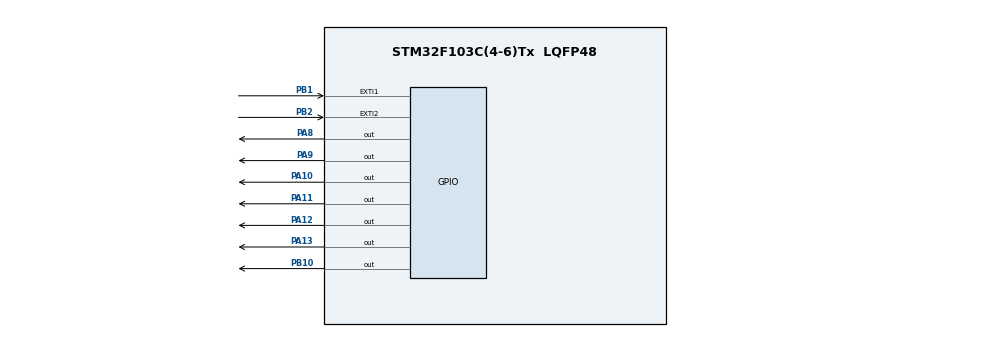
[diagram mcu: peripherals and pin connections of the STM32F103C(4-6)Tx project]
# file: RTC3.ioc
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Mcu.Family=STM32F1
Mcu.Name=STM32F103C(4-6)Tx
Mcu.Package=LQFP48
NVIC.EXTI1_IRQn=true\:2\:0\:true\:false\:true\:true\:true
NVIC.EXTI2_IRQn=true\:3\:0\:true\:false\:true\:true\:true
NVIC.PriorityGroup=NVIC_PRIORITYGROUP_4
NVIC.RTC_Alarm_IRQn=true\:0\:0\:false\:false\:true\:true\:true
PA10.Signal=GPIO_Output
PA11.Signal=GPIO_Output
PA12.Signal=GPIO_Output
PA13.Signal=GPIO_Output
PA8.Signal=GPIO_Output
PA9.Signal=GPIO_Output
PB1.GPIO_ModeDefaultEXTI=GPIO_MODE_IT_FALLING
PB1.GPIO_PuPd=GPIO_PULLUP
PB1.Signal=GPXTI1
PB10.Signal=GPIO_Output
PB2.GPIO_ModeDefaultEXTI=GPIO_MODE_IT_FALLING
PB2.GPIO_PuPd=GPIO_PULLUP
PB2.Signal=GPXTI2
ProjectManager.HeapSize=0x200
ProjectManager.StackSize=0x400
ProjectManager.TargetToolchain=MDK-ARM V5
RCC.APB1Freq_Value=8000000
RCC.APB2Freq_Value=8000000
VP_RTC_VS_RTC_Activate.Mode=RTC_Enabled
VP_RTC_VS_RTC_Calendar.Mode=RTC_Calendar
VP_SYS_VS_ND.Mode=No_Debug
board=custom

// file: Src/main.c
/* USER CODE BEGIN Header */
/**
  ******************************************************************************
  * @file           : main.c
  * @brief          : Main program body
  ******************************************************************************
  * @attention
  *
  * <h2><center>&copy; Copyright (c) 2021 STMicroelectronics.
  * All rights reserved.</center></h2>
  *
  * This software component is licensed by ST under BSD 3-Clause license,
  * the "License"; You may not use this file except in compliance with the
  * License. You may obtain a copy of the License at:
  *                        opensource.org/licenses/BSD-3-Clause
  *
  ******************************************************************************
  */
/* USER CODE END Header */
#include "main.h"

/* USER CODE BEGIN Includes */
#include "LCD16x2/LCD16x2.h"
#include <stdio.h>
/* USER CODE END Includes */

RTC_HandleTypeDef hrtc;

void SystemClock_Config(void);
static void MX_GPIO_Init(void);
static void MX_RTC_Init(void);

/* USER CODE BEGIN 0 */
uint8_t currentMode = 0;
#define MODE_NORMAL			0
#define MODE_CHNG_CLK		1
#define MODE_CHNG_MIN		2
#define MODE_CHNG_SEC		3
#define MODE_CHNG_YEAR	4
#define MODE_CHNG_MONTH	5
#define MODE_CHNG_DAY		6
#define MODE_CHNG_WEEK	7

uint8_t h,m,s,y,mon,d,wk;
RTC_TimeTypeDef tmptim = {.Hours=0, .Minutes=0, .Seconds=0};
RTC_DateTypeDef tmpdat = {.Year=0, .Month=0, .Date=0, .WeekDay=0};

void HAL_GPIO_EXTI_Callback(uint16_t GPIO_Pin)
{
  if(GPIO_Pin == GPIO_PIN_1)
	{
		if(currentMode==MODE_NORMAL)
		{
			currentMode = MODE_CHNG_CLK;
		}
		else if(currentMode == MODE_CHNG_CLK)
		{
			currentMode = MODE_CHNG_MIN;
		}
		else if(currentMode == MODE_CHNG_MIN)
		{
			currentMode = MODE_CHNG_SEC;
		}
		else if(currentMode == MODE_CHNG_SEC)
		{
			currentMode = MODE_CHNG_DAY;
		}
		else if(currentMode == MODE_CHNG_DAY)
		{
			currentMode = MODE_CHNG_MONTH;
		}
		else if(currentMode == MODE_CHNG_MONTH)
		{
			currentMode = MODE_CHNG_YEAR;
		}
		else if(currentMode == MODE_CHNG_YEAR)
		/*{
			currentMode = MODE_CHNG_WEEK;
		}
		else if(currentMode == MODE_CHNG_WEEK)
		*/{
			currentMode = MODE_NORMAL;
			LCD_HideCursor();
		}
	}
	else if(GPIO_Pin == GPIO_PIN_2)
	{
		if(currentMode==MODE_NORMAL)
			HAL_GPIO_WritePin(GPIOB, GPIO_PIN_10, 0);	//turn off alarm
		else if(currentMode==MODE_CHNG_CLK)
		{
			h++;
			if(h==24) h=0;
			tmptim.Hours = h;
			tmptim.Minutes = m;
			tmptim.Seconds = s;
			HAL_RTC_SetTime(&hrtc,&tmptim,RTC_FORMAT_BIN);
		}
		else if(currentMode==MODE_CHNG_MIN)
		{
			m++;
			if(m==60) m=0;
			tmptim.Hours = h;
			tmptim.Minutes = m;
			tmptim.Seconds = s;
			HAL_RTC_SetTime(&hrtc,&tmptim,RTC_FORMAT_BIN);
		}
		else if(currentMode==MODE_CHNG_SEC)
		{
			s++;
			if(s==60) s=0;
			tmptim.Hours = h;
			tmptim.Minutes = m;
			tmptim.Seconds = s;
			HAL_RTC_SetTime(&hrtc,&tmptim,RTC_FORMAT_BIN);
		}
		else if(currentMode==MODE_CHNG_DAY)
		{
			d++;
			if(d==32) d=1;
			tmpdat.Year = y;
			tmpdat.Month = mon;
			tmpdat.Date = d;
			//tmpdat.WeekDay = wk;
			HAL_RTC_SetDate(&hrtc,&tmpdat,RTC_FORMAT_BIN);
		}
		else if(currentMode==MODE_CHNG_MONTH)
		{
			mon++;
			if(mon==13) mon=1;
			tmpdat.Year = y;
			tmpdat.Month = mon;
			tmpdat.Date = d;
			//tmpdat.WeekDay = wk;
			HAL_RTC_SetDate(&hrtc,&tmpdat,RTC_FORMAT_BIN);
		}
		else if(currentMode==MODE_CHNG_YEAR)
		{
			y++;
			tmpdat.Year = y;
			tmpdat.Month = mon;
			tmpdat.Date = d;
			//tmpdat.WeekDay = wk;
			HAL_RTC_SetDate(&hrtc,&tmpdat,RTC_FORMAT_BIN);
		}
		/*else if(currentMode==MODE_CHNG_WEEK)
		{
			wk++;
			if(wk==8) wk=1;
			tmpdat.Year = y;
			tmpdat.Month = mon;
			tmpdat.Date = d;
			tmpdat.WeekDay = wk;
			HAL_RTC_SetDate(&hrtc,&tmpdat,RTC_FORMAT_BIN);
		}*/
	}
}

void getTimeAndDate(uint8_t* h, uint8_t* m, uint8_t* s, uint8_t* y, uint8_t* mon, uint8_t* d, uint8_t* wk)
{
	RTC_TimeTypeDef timeh = {.Hours = 0, .Minutes= 0, .Seconds = 0};
	HAL_RTC_GetTime(&hrtc, &timeh, RTC_FORMAT_BIN);
	*h = timeh.Hours;
	*m = timeh.Minutes;
	*s = timeh.Seconds;

	RTC_DateTypeDef dateh;
	HAL_RTC_GetDate(&hrtc, &dateh, RTC_FORMAT_BIN);
	*y = dateh.Year;
	*mon = dateh.Month;
	*d = dateh.Date;
	*wk = dateh.WeekDay;
}

void cursorMove()
{
		if(currentMode == MODE_CHNG_CLK)
			LCD_Set_Cursor(1,2);
		else if(currentMode == MODE_CHNG_MIN)
			LCD_Set_Cursor(1,5);
		else if(currentMode == MODE_CHNG_SEC)
			LCD_Set_Cursor(1,8);
		else if(currentMode == MODE_CHNG_DAY)
			LCD_Set_Cursor(2,2);
		else if(currentMode == MODE_CHNG_MONTH)
			LCD_Set_Cursor(2,5);
		else if(currentMode == MODE_CHNG_YEAR)
			LCD_Set_Cursor(2,10);
		else if(currentMode == MODE_CHNG_WEEK)
			LCD_Set_Cursor(1,14);
		LCD_ShowCursor();
}
/* USER CODE END 0 */

int main(void)
{

  /* MCU Configuration--------------------------------------------------------*/

  /* Reset of all peripherals, Initializes the Flash interface and the Systick. */
  HAL_Init();

  /* Configure the system clock */
  SystemClock_Config();

  /* Initialize all configured peripherals */
  MX_GPIO_Init();
  MX_RTC_Init();

  /* Infinite loop */
  /* USER CODE BEGIN WHILE */
  LCD_Init();
	LCD_Set_Cursor(1,1);
	char buf[16];
	const char* DayNames [] = {"", "MON", "TUE", "WED", "THU", "FRI", "SAT", "SUN"};
  while (1)
  {
    /* USER CODE END WHILE */

    /* USER CODE BEGIN 3 */

		//if(currentMode == 0)
		{
			getTimeAndDate(&h, &m, &s, &y, &mon, &d, &wk);
			sprintf(buf, "%02d:%02d:%02d     %s", h, m ,s, DayNames[wk]);
			LCD_Set_Cursor(1,1);
			LCD_Write_String(buf);
			sprintf(buf, "%02d/%02d/20%02d",d,mon,y);
			LCD_Set_Cursor(2,1);
			LCD_Write_String(buf);
			if(currentMode!=MODE_NORMAL)
				cursorMove();
			HAL_Delay(500);
		}
  }
  /* USER CODE END 3 */
}

void SystemClock_Config(void)
{
  RCC_OscInitTypeDef RCC_OscInitStruct = {0};
  RCC_ClkInitTypeDef RCC_ClkInitStruct = {0};
  RCC_PeriphCLKInitTypeDef PeriphClkInit = {0};

  /** Initializes the RCC Oscillators according to the specified parameters
  * in the RCC_OscInitTypeDef structure.
  */
  RCC_OscInitStruct.OscillatorType = RCC_OSCILLATORTYPE_HSI|RCC_OSCILLATORTYPE_LSI;
  RCC_OscInitStruct.HSIState = RCC_HSI_ON;
  RCC_OscInitStruct.HSICalibrationValue = RCC_HSICALIBRATION_DEFAULT;
  RCC_OscInitStruct.LSIState = RCC_LSI_ON;
  RCC_OscInitStruct.PLL.PLLState = RCC_PLL_NONE;
  if (HAL_RCC_OscConfig(&RCC_OscInitStruct) != HAL_OK)
  {
    Error_Handler();
  }
  /** Initializes the CPU, AHB and APB buses clocks
  */
  RCC_ClkInitStruct.ClockType = RCC_CLOCKTYPE_HCLK|RCC_CLOCKTYPE_SYSCLK
                              |RCC_CLOCKTYPE_PCLK1|RCC_CLOCKTYPE_PCLK2;
  RCC_ClkInitStruct.SYSCLKSource = RCC_SYSCLKSOURCE_HSI;
  RCC_ClkInitStruct.AHBCLKDivider = RCC_SYSCLK_DIV1;
  RCC_ClkInitStruct.APB1CLKDivider = RCC_HCLK_DIV1;
  RCC_ClkInitStruct.APB2CLKDivider = RCC_HCLK_DIV1;

  if (HAL_RCC_ClockConfig(&RCC_ClkInitStruct, FLASH_LATENCY_0) != HAL_OK)
  {
    Error_Handler();
  }
  PeriphClkInit.PeriphClockSelection = RCC_PERIPHCLK_RTC;
  PeriphClkInit.RTCClockSelection = RCC_RTCCLKSOURCE_LSI;
  if (HAL_RCCEx_PeriphCLKConfig(&PeriphClkInit) != HAL_OK)
  {
    Error_Handler();
  }
}

static void MX_RTC_Init(void)
{

  RTC_TimeTypeDef sTime = {0};
  RTC_DateTypeDef DateToUpdate = {0};

  /** Initialize RTC Only
  */
  hrtc.Instance = RTC;
  hrtc.Init.AsynchPrediv = RTC_AUTO_1_SECOND;
  hrtc.Init.OutPut = RTC_OUTPUTSOURCE_ALARM;
  if (HAL_RTC_Init(&hrtc) != HAL_OK)
  {
    Error_Handler();
  }

  /** Initialize RTC and set the Time and Date
  */
  sTime.Hours = 0x0;
  sTime.Minutes = 0x0;
  sTime.Seconds = 0x0;

  if (HAL_RTC_SetTime(&hrtc, &sTime, RTC_FORMAT_BCD) != HAL_OK)
  {
    Error_Handler();
  }
  DateToUpdate.WeekDay = RTC_WEEKDAY_MONDAY;
  DateToUpdate.Month = RTC_MONTH_JANUARY;
  DateToUpdate.Date = 0x1;
  DateToUpdate.Year = 0x0;

  if (HAL_RTC_SetDate(&hrtc, &DateToUpdate, RTC_FORMAT_BCD) != HAL_OK)
  {
    Error_Handler();
  }

}

static void MX_GPIO_Init(void)
{
  GPIO_InitTypeDef GPIO_InitStruct = {0};

  /* GPIO Ports Clock Enable */
  __HAL_RCC_GPIOB_CLK_ENABLE();
  __HAL_RCC_GPIOA_CLK_ENABLE();

  /*Configure GPIO pin Output Level */
  HAL_GPIO_WritePin(GPIOB, GPIO_PIN_10, GPIO_PIN_RESET);

  /*Configure GPIO pin Output Level */
  HAL_GPIO_WritePin(GPIOA, GPIO_PIN_8|GPIO_PIN_9|GPIO_PIN_10|GPIO_PIN_11
                          |GPIO_PIN_12|GPIO_PIN_13, GPIO_PIN_RESET);

  /*Configure GPIO pins : PB1 PB2 */
  GPIO_InitStruct.Pin = GPIO_PIN_1|GPIO_PIN_2;
  GPIO_InitStruct.Mode = GPIO_MODE_IT_FALLING;
  GPIO_InitStruct.Pull = GPIO_PULLUP;
  HAL_GPIO_Init(GPIOB, &GPIO_InitStruct);

  /*Configure GPIO pin : PB10 */
  GPIO_InitStruct.Pin = GPIO_PIN_10;
  GPIO_InitStruct.Mode = GPIO_MODE_OUTPUT_PP;
  GPIO_InitStruct.Pull = GPIO_NOPULL;
  GPIO_InitStruct.Speed = GPIO_SPEED_FREQ_LOW;
  HAL_GPIO_Init(GPIOB, &GPIO_InitStruct);

  /*Configure GPIO pins : PA8 PA9 PA10 PA11
                           PA12 PA13 */
  GPIO_InitStruct.Pin = GPIO_PIN_8|GPIO_PIN_9|GPIO_PIN_10|GPIO_PIN_11
                          |GPIO_PIN_12|GPIO_PIN_13;
  GPIO_InitStruct.Mode = GPIO_MODE_OUTPUT_PP;
  GPIO_InitStruct.Pull = GPIO_NOPULL;
  GPIO_InitStruct.Speed = GPIO_SPEED_FREQ_LOW;
  HAL_GPIO_Init(GPIOA, &GPIO_InitStruct);

  /* EXTI interrupt init*/
  HAL_NVIC_SetPriority(EXTI1_IRQn, 2, 0);
  HAL_NVIC_EnableIRQ(EXTI1_IRQn);

  HAL_NVIC_SetPriority(EXTI2_IRQn, 3, 0);
  HAL_NVIC_EnableIRQ(EXTI2_IRQn);

}

void Error_Handler(void)
{
  __disable_irq();
  while (1)
  {
  }
}

/************************ (C) COPYRIGHT STMicroelectronics *****END OF FILE****/
